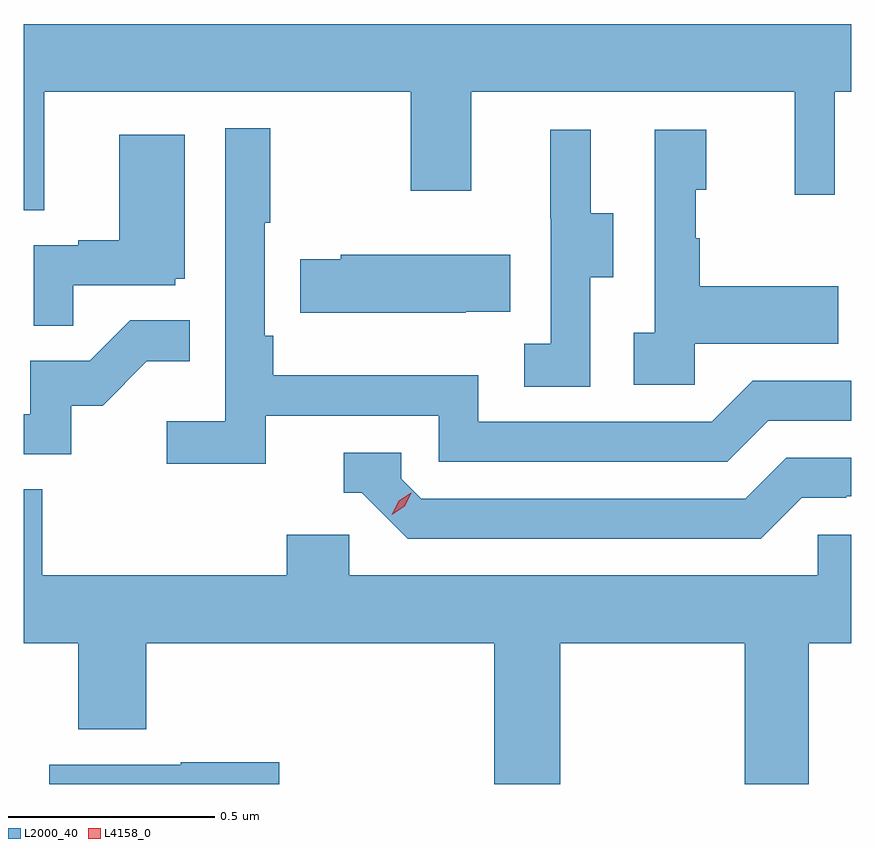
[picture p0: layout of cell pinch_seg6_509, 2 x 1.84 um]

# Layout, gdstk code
import gdstk
lib = gdstk.Library(unit=1e-6, precision=1e-09)
def P(c, l, *ps):  # polygons
    for p in ps: c.add(gdstk.Polygon(p, *l))
L2000_40 = (2000, 40)
L4158_0 = (4158, 0)

pinch_seg6_509 = lib.new_cell('pinch_seg6_509')
P(pinch_seg6_509, L2000_40, [(843.817,928.688),(844.702,928.688),(844.702,928.449),(844.849,928.449),(844.849,928.688),(845.63,928.688),(845.63,928.44),(845.727,928.44),(845.727,928.688),(845.767,928.688),(845.767,928.852),(843.767,928.852),(843.767,928.402),(843.817,928.402)],
  [(844.352,927.906),(844.77,927.906),(844.77,927.795),(845.467,927.795),(845.566,927.894),(845.767,927.894),(845.767,927.99),(845.529,927.99),(845.43,927.891),(844.866,927.891),(844.866,928.003),(844.37,928.003),(844.37,928.099),(844.35,928.099),(844.35,928.372),(844.363,928.372),(844.363,928.6),(844.254,928.6),(844.254,927.892),(844.113,927.892),(844.113,927.79),(844.352,927.79)],
  [(845.388,928.079),(845.735,928.079),(845.735,928.219),(845.401,928.219),(845.401,928.334),(845.391,928.334),(845.391,928.452),(845.416,928.452),(845.416,928.597),(845.292,928.597),(845.292,928.106),(845.241,928.106),(845.241,927.981),(845.388,927.981)],
  [(845.136,928.24),(845.191,928.24),(845.191,928.395),(845.137,928.395),(845.137,928.597),(845.039,928.597),(845.039,928.383),(845.04,928.383),(845.04,928.079),(844.977,928.079),(844.977,927.976),(845.136,927.976)],
  [(843.887,928.221),(844.134,928.221),(844.134,928.236),(844.156,928.236),(844.156,928.585),(843.998,928.585),(843.998,928.33),(843.899,928.33),(843.899,928.317),(843.792,928.317),(843.792,928.123),(843.887,928.123)],
  [(844.835,928.157),(844.943,928.157),(844.943,928.294),(844.533,928.294),(844.533,928.284),(844.435,928.284),(844.435,928.154),(844.835,928.154)],
  [(843.882,927.93),(843.958,927.93),(844.065,928.037),(844.169,928.037),(844.169,928.136),(844.025,928.136),(843.927,928.038),(843.783,928.038),(843.783,927.909),(843.767,927.909),(843.767,927.813),(843.882,927.813)],
  [(845.647,927.708),(845.754,927.708),(845.754,927.711),(845.767,927.711),(845.767,927.804),(845.61,927.804),(845.511,927.705),(844.728,927.705),(844.68,927.753),(844.68,927.816),(844.541,927.816),(844.541,927.72),(844.584,927.72),(844.695,927.609),(845.548,927.609)],
  [(843.812,927.728),(843.767,927.728),(843.767,927.356),(843.899,927.356),(843.899,927.148),(844.064,927.148),(844.064,927.356),(844.904,927.356),(844.904,927.016),(845.064,927.016),(845.064,927.356),(845.509,927.356),(845.509,927.016),(845.664,927.016),(845.664,927.356),(845.767,927.356),(845.767,927.618),(845.685,927.618),(845.685,927.52),(844.554,927.52),(844.554,927.618),(844.403,927.618),(844.403,927.52),(843.812,927.52)],
  [(844.385,927.068),(844.147,927.068),(844.147,927.063),(843.829,927.063),(843.829,927.016),(844.385,927.016)])
P(pinch_seg6_509, L4158_0, [(844.657,927.666),(844.657,927.667),(844.673,927.7),(844.703,927.72),(844.704,927.72),(844.704,927.72),(844.688,927.687),(844.657,927.666)])

lib.write_gds('pinch_seg6_509.gds')
